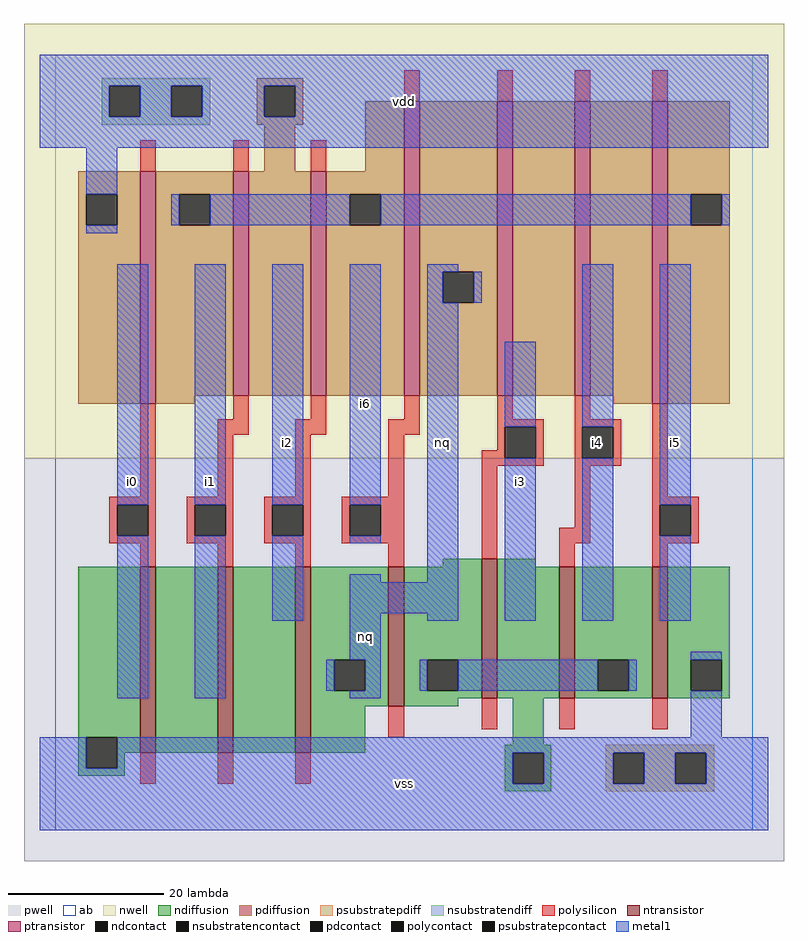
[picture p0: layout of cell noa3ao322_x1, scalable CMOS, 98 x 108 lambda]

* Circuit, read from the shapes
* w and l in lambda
.subckt noa3ao322_x1 i0 i1 i2 i3 i4 i5 i6 nq vdd vss
M1 n1 i0 vss vss nfet w=24 l=2
M2 n2 i1 n1 vss nfet w=24 l=2
M3 nq i2 n2 vss nfet w=24 l=2
M4 n3 i6 nq vss nfet w=18 l=2
M5 vss i3 n3 vss nfet w=18 l=2
M6 n3 i4 vss vss nfet w=17 l=2
M7 vss i5 n3 vss nfet w=17 l=2
M8 n4 i0 vdd vdd pfet w=30 l=2
M9 vdd i1 n4 vdd pfet w=29 l=2
M10 n4 i2 vdd vdd pfet w=29 l=2
M11 nq i6 n4 vdd pfet w=38 l=2
M12 n5 i3 nq vdd pfet w=38 l=2
M13 n6 i4 n5 vdd pfet w=38 l=2
M14 n4 i5 n6 vdd pfet w=39 l=2
.ends

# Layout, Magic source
magic
tech scmos
<< ab >>
rect 0 0 90 100
<< pwell >>
rect -4 -4 94 48
<< nwell >>
rect -4 48 94 104
<< polysilicon >>
rect 45 94 47 98
rect 57 94 59 98
rect 67 94 69 98
rect 77 94 79 98
rect 11 85 13 89
rect 23 85 25 89
rect 33 85 35 89
rect 11 43 13 55
rect 23 53 25 56
rect 33 53 35 56
rect 45 53 47 56
rect 21 51 25 53
rect 31 51 35 53
rect 43 51 47 53
rect 57 53 59 56
rect 67 53 69 56
rect 57 52 63 53
rect 21 43 23 51
rect 31 43 33 51
rect 43 43 45 51
rect 57 49 58 52
rect 7 42 13 43
rect 7 38 8 42
rect 12 38 13 42
rect 7 37 13 38
rect 17 42 23 43
rect 17 38 18 42
rect 22 38 23 42
rect 17 37 23 38
rect 27 42 33 43
rect 27 38 28 42
rect 32 38 33 42
rect 27 37 33 38
rect 37 42 45 43
rect 37 38 38 42
rect 42 38 45 42
rect 37 37 45 38
rect 11 34 13 37
rect 21 34 23 37
rect 31 34 33 37
rect 43 34 45 37
rect 55 48 58 49
rect 62 48 63 52
rect 55 47 63 48
rect 67 52 73 53
rect 67 48 68 52
rect 72 48 73 52
rect 67 47 73 48
rect 55 35 57 47
rect 67 39 69 47
rect 65 37 69 39
rect 77 43 79 55
rect 77 42 83 43
rect 77 38 78 42
rect 82 38 83 42
rect 77 37 83 38
rect 65 34 67 37
rect 77 34 79 37
rect 43 12 45 16
rect 55 13 57 17
rect 65 13 67 17
rect 77 13 79 17
rect 11 6 13 10
rect 21 6 23 10
rect 31 6 33 10
<< ndiffusion >>
rect 50 34 55 35
rect 3 12 11 34
rect 3 8 4 12
rect 8 10 11 12
rect 13 10 21 34
rect 23 10 31 34
rect 33 22 43 34
rect 33 18 36 22
rect 40 18 43 22
rect 33 16 43 18
rect 45 22 55 34
rect 45 18 48 22
rect 52 18 55 22
rect 45 17 55 18
rect 57 34 62 35
rect 57 17 65 34
rect 67 22 77 34
rect 67 18 70 22
rect 74 18 77 22
rect 67 17 77 18
rect 79 22 87 34
rect 79 18 82 22
rect 86 18 87 22
rect 79 17 87 18
rect 45 16 52 17
rect 33 10 40 16
rect 59 11 63 17
rect 58 10 64 11
rect 8 8 9 10
rect 3 7 9 8
rect 58 6 59 10
rect 63 6 64 10
rect 58 5 64 6
<< pdiffusion >>
rect 26 96 32 97
rect 26 92 27 96
rect 31 92 32 96
rect 26 91 32 92
rect 27 85 31 91
rect 40 85 45 94
rect 3 82 11 85
rect 3 78 4 82
rect 8 78 11 82
rect 3 55 11 78
rect 13 82 23 85
rect 13 78 16 82
rect 20 78 23 82
rect 13 56 23 78
rect 25 56 33 85
rect 35 82 45 85
rect 35 78 38 82
rect 42 78 45 82
rect 35 56 45 78
rect 47 72 57 94
rect 47 68 50 72
rect 54 68 57 72
rect 47 56 57 68
rect 59 56 67 94
rect 69 56 77 94
rect 13 55 18 56
rect 72 55 77 56
rect 79 82 87 94
rect 79 78 82 82
rect 86 78 87 82
rect 79 55 87 78
<< metal1 >>
rect -2 96 92 100
rect -2 92 7 96
rect 11 92 15 96
rect 19 92 27 96
rect 31 92 92 96
rect -2 88 92 92
rect 4 82 8 88
rect 15 78 16 82
rect 20 78 38 82
rect 42 78 82 82
rect 86 78 87 82
rect 4 77 8 78
rect 8 42 12 73
rect 8 17 12 38
rect 18 42 22 73
rect 18 17 22 38
rect 28 42 32 73
rect 28 27 32 38
rect 38 42 42 73
rect 38 37 42 38
rect 48 72 52 73
rect 48 68 50 72
rect 54 68 55 72
rect 38 32 42 33
rect 48 32 52 68
rect 38 28 52 32
rect 38 22 42 28
rect 48 27 52 28
rect 58 52 62 63
rect 58 27 62 48
rect 68 52 72 73
rect 68 27 72 48
rect 78 42 82 73
rect 78 27 82 38
rect 82 22 86 23
rect 35 18 36 22
rect 40 18 42 22
rect 47 18 48 22
rect 52 18 70 22
rect 74 18 75 22
rect 38 17 42 18
rect 82 12 86 18
rect -2 8 4 12
rect 8 10 92 12
rect 8 8 59 10
rect -2 6 59 8
rect 63 6 72 10
rect 76 6 80 10
rect 84 6 92 10
rect -2 0 92 6
<< ntransistor >>
rect 11 10 13 34
rect 21 10 23 34
rect 31 10 33 34
rect 43 16 45 34
rect 55 17 57 35
rect 65 17 67 34
rect 77 17 79 34
<< ptransistor >>
rect 11 55 13 85
rect 23 56 25 85
rect 33 56 35 85
rect 45 56 47 94
rect 57 56 59 94
rect 67 56 69 94
rect 77 55 79 94
<< polycontact >>
rect 8 38 12 42
rect 18 38 22 42
rect 28 38 32 42
rect 38 38 42 42
rect 58 48 62 52
rect 68 48 72 52
rect 78 38 82 42
<< ndcontact >>
rect 4 8 8 12
rect 36 18 40 22
rect 48 18 52 22
rect 70 18 74 22
rect 82 18 86 22
rect 59 6 63 10
<< pdcontact >>
rect 27 92 31 96
rect 4 78 8 82
rect 16 78 20 82
rect 38 78 42 82
rect 50 68 54 72
rect 82 78 86 82
<< psubstratepcontact >>
rect 72 6 76 10
rect 80 6 84 10
<< nsubstratencontact >>
rect 7 92 11 96
rect 15 92 19 96
<< psubstratepdiff >>
rect 71 10 85 11
rect 71 6 72 10
rect 76 6 80 10
rect 84 6 85 10
rect 71 5 85 6
<< nsubstratendiff >>
rect 6 96 20 97
rect 6 92 7 96
rect 11 92 15 96
rect 19 92 20 96
rect 6 91 20 92
<< labels >>
rlabel metal1 10 45 10 45 6 i0
rlabel metal1 40 25 40 25 6 nq
rlabel metal1 20 45 20 45 6 i1
rlabel metal1 30 50 30 50 6 i2
rlabel metal1 40 55 40 55 6 i6
rlabel metal1 45 6 45 6 6 vss
rlabel metal1 60 45 60 45 6 i3
rlabel metal1 50 50 50 50 6 nq
rlabel metal1 45 94 45 94 6 vdd
rlabel metal1 80 50 80 50 6 i5
rlabel polycontact 70 50 70 50 6 i4
<< end >>
